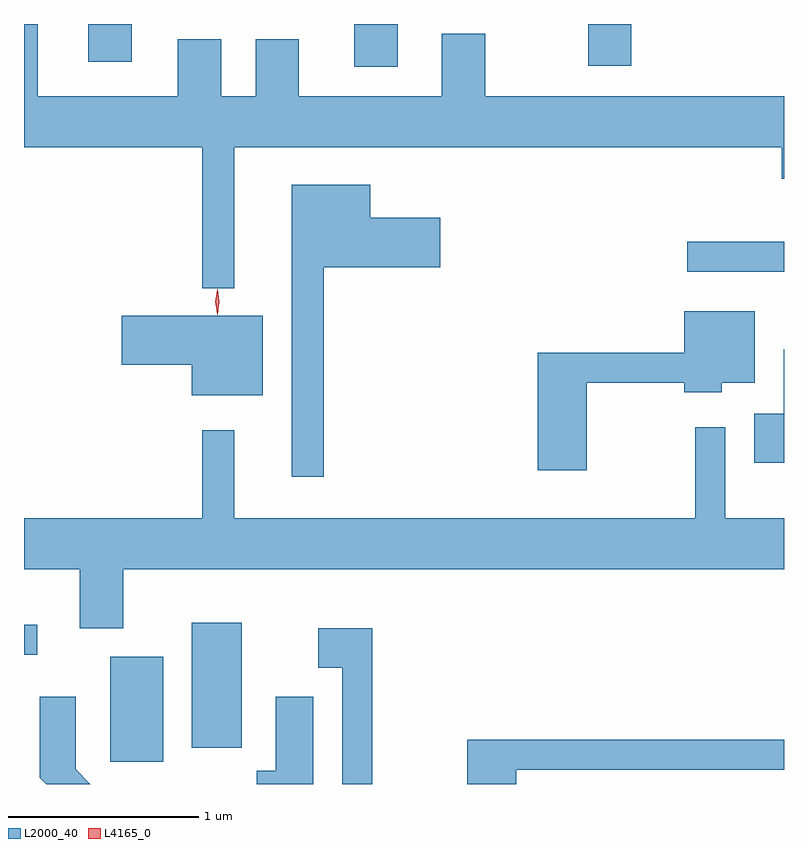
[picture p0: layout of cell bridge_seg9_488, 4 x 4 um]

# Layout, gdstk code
import gdstk
lib = gdstk.Library(unit=1e-6, precision=1e-09)
def R(c, l, rs):  # rectangles x0, y0, x1, y1
    for r in rs: c.add(gdstk.rectangle(r[:2], r[2:], *l))
def P(c, l, *ps):  # polygons
    for p in ps: c.add(gdstk.Polygon(p, *l))
L2000_40 = (2000, 40)
L4165_0 = (4165, 0)

bridge_seg9_488 = lib.new_cell('bridge_seg9_488')
R(bridge_seg9_488, L2000_40, [(600.036,1946.401,600.314,1946.954), (600.466,1946.476,600.729,1947.134), (599.582,1946.966,599.653,1947.124), (603.073,1948.981,603.582,1949.139), (601.321,1950.061,601.549,1950.285), (602.551,1950.066,602.779,1950.285), (599.921,1950.086,600.149,1950.285)])
P(bridge_seg9_488, L2000_40, [(600.689,1949.636),(603.571,1949.636),(603.571,1949.471),(603.582,1949.471),(603.582,1949.904),(602.009,1949.904),(602.009,1950.234),(601.781,1950.234),(601.781,1949.904),(601.029,1949.904),(601.029,1950.204),(600.801,1950.204),(600.801,1949.904),(600.619,1949.904),(600.619,1950.204),(600.391,1950.204),(600.391,1949.904),(599.654,1949.904),(599.654,1950.285),(599.582,1950.285),(599.582,1949.636),(600.521,1949.636),(600.521,1948.893),(600.689,1948.893)],
  [(601.159,1949.006),(601.774,1949.006),(601.774,1949.264),(601.404,1949.264),(601.404,1949.439),(600.991,1949.439),(600.991,1947.903),(601.159,1947.903)],
  [(602.544,1948.396),(603.056,1948.396),(603.056,1948.346),(603.254,1948.346),(603.254,1948.396),(603.429,1948.396),(603.429,1948.774),(603.056,1948.774),(603.056,1948.554),(602.286,1948.554),(602.286,1947.936),(602.544,1947.936)],
  [(600.839,1948.749),(600.096,1948.749),(600.096,1948.491),(600.466,1948.491),(600.466,1948.331),(600.839,1948.331)],
  [(603.582,1948.574),(603.581,1948.574),(603.581,1948.234),(603.426,1948.234),(603.426,1947.976),(603.582,1947.976)],
  [(600.104,1947.416),(603.582,1947.416),(603.582,1947.684),(603.274,1947.684),(603.274,1948.163),(603.116,1948.163),(603.116,1947.684),(600.689,1947.684),(600.689,1948.148),(600.521,1948.148),(600.521,1947.684),(599.582,1947.684),(599.582,1947.416),(599.876,1947.416),(599.876,1947.106),(600.104,1947.106)],
  [(601.414,1947.104),(601.131,1947.104),(601.131,1946.896),(601.256,1946.896),(601.256,1946.285),(601.414,1946.285)],
  [(599.854,1946.362),(599.854,1946.744),(599.666,1946.744),(599.666,1946.319),(599.7,1946.285),(599.931,1946.285)],
  [(601.104,1946.744),(600.906,1946.744),(600.906,1946.354),(600.806,1946.354),(600.806,1946.285),(601.104,1946.285)],
  [(602.174,1946.361),(603.582,1946.361),(603.582,1946.519),(601.916,1946.519),(601.916,1946.285),(602.174,1946.285)])
P(bridge_seg9_488, L4165_0, [(600.6,1948.754),(600.6,1948.754),(600.59,1948.822),(600.6,1948.89),(600.6,1948.89),(600.601,1948.89),(600.61,1948.822),(600.601,1948.754)],
  [(600.598,1948.76),(600.598,1948.761),(600.589,1948.824),(600.6,1948.886),(600.6,1948.887),(600.601,1948.886),(600.609,1948.823),(600.599,1948.761)])

lib.write_gds('bridge_seg9_488.gds')
